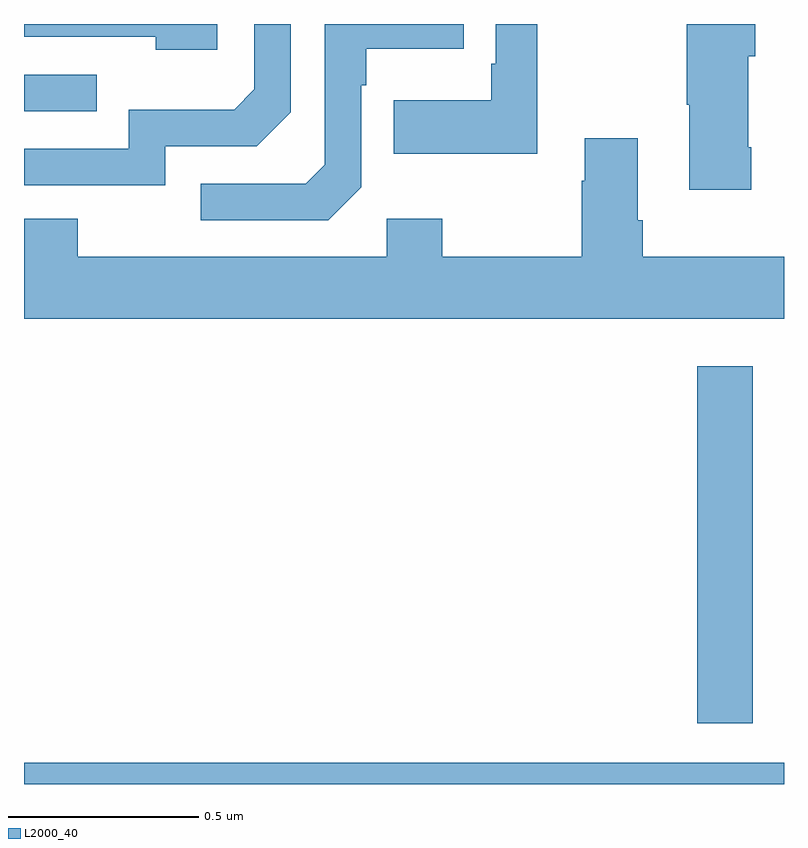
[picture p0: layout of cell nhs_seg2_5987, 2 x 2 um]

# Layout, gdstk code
import gdstk
lib = gdstk.Library(unit=1e-6, precision=1e-09)
def R(c, l, rs):  # rectangles x0, y0, x1, y1
    for r in rs: c.add(gdstk.rectangle(r[:2], r[2:], *l))
def P(c, l, *ps):  # polygons
    for p in ps: c.add(gdstk.Polygon(p, *l))
L2000_40 = (2000, 40)

nhs_seg2_5987 = lib.new_cell('nhs_seg2_5987')
R(nhs_seg2_5987, L2000_40, [(186,591.8,188,591.856), (187.772,591.96,187.918,592.9), (186,593.571,186.191,593.667)])
P(nhs_seg2_5987, L2000_40, [(186.508,593.8),(186,593.8),(186,593.766),(186.347,593.766),(186.347,593.732),(186.508,593.732)],
  [(186.372,593.478),(186.612,593.478),(186.702,593.568),(186.702,593.8),(186.606,593.8),(186.606,593.628),(186.553,593.575),(186.276,593.575),(186.276,593.472),(186,593.472),(186,593.376),(186.372,593.376)],
  [(186.888,593.37),(186.888,593.639),(186.901,593.639),(186.901,593.735),(187.157,593.735),(187.157,593.8),(186.792,593.8),(186.792,593.43),(186.741,593.379),(186.465,593.379),(186.465,593.283),(186.801,593.283)],
  [(187.914,593.476),(187.906,593.476),(187.906,593.715),(187.924,593.715),(187.924,593.8),(187.744,593.8),(187.744,593.587),(187.751,593.587),(187.751,593.364),(187.914,593.364)],
  [(187.351,593.8),(187.242,593.8),(187.242,593.695),(187.23,593.695),(187.23,593.599),(186.973,593.599),(186.973,593.459),(187.351,593.459)],
  [(188,593.188),(187.628,593.188),(187.628,593.284),(187.615,593.284),(187.615,593.5),(187.475,593.5),(187.475,593.387),(187.468,593.387),(187.468,593.188),(187.101,593.188),(187.101,593.287),(186.954,593.287),(186.954,593.188),(186.141,593.188),(186.141,593.287),(186,593.287),(186,593.024),(188,593.024)])

lib.write_gds('nhs_seg2_5987.gds')
